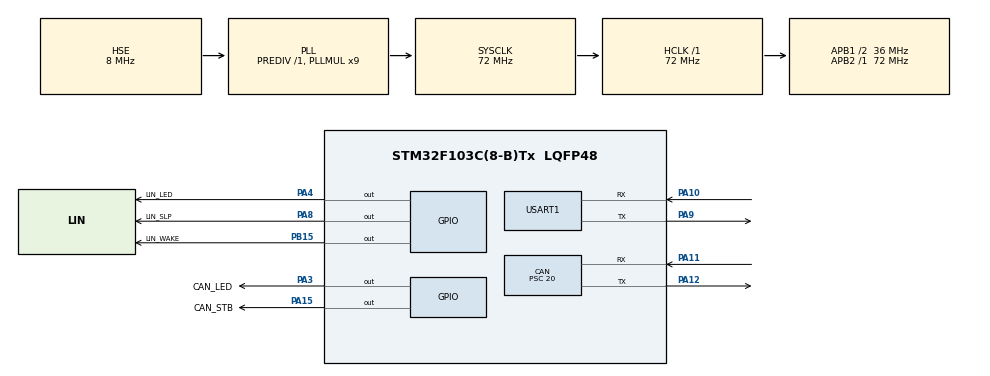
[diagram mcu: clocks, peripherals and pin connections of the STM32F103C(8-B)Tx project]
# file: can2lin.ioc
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CAN.AWUM=ENABLE
CAN.BS1=CAN_BS1_15TQ
CAN.BS2=CAN_BS2_2TQ
CAN.CalculateBaudRate=100000
CAN.CalculateTimeBit=10000
CAN.CalculateTimeQuantum=555.5555555555555
CAN.Prescaler=20
Mcu.Family=STM32F1
Mcu.Name=STM32F103C(8-B)Tx
Mcu.Package=LQFP48
NVIC.PriorityGroup=NVIC_PRIORITYGROUP_4
NVIC.TIM2_IRQn=true\:1\:0\:true\:false\:true\:true\:true\:true
NVIC.USB_LP_CAN1_RX0_IRQn=true\:0\:0\:false\:false\:true\:true\:true\:true
PA10.Mode=LIN
PA10.Signal=USART1_RX
PA11.Mode=CAN_Activate
PA11.Signal=CAN_RX
PA12.Mode=CAN_Activate
PA12.Signal=CAN_TX
PA13.Mode=Serial_Wire
PA13.Signal=SYS_JTMS-SWDIO
PA14.Mode=Serial_Wire
PA14.Signal=SYS_JTCK-SWCLK
PA15.GPIO_Label=CAN_STB
PA15.Signal=GPIO_Output
PA3.GPIO_Label=CAN_LED
PA3.Signal=GPIO_Output
PA4.GPIO_Label=LIN_LED
PA4.Signal=GPIO_Output
PA8.GPIO_Label=LIN_SLP
PA8.Signal=GPIO_Output
PA9.Mode=LIN
PA9.Signal=USART1_TX
PB15.GPIO_Label=LIN_WAKE
PB15.Signal=GPIO_Output
PD0-OSC_IN.Mode=HSE-External-Oscillator
PD0-OSC_IN.Signal=RCC_OSC_IN
PD1-OSC_OUT.Mode=HSE-External-Oscillator
PD1-OSC_OUT.Signal=RCC_OSC_OUT
ProjectManager.HeapSize=0x200
ProjectManager.StackSize=0x400
ProjectManager.TargetToolchain=STM32CubeIDE
RCC.AHBFreq_Value=72000000
RCC.APB1CLKDivider=RCC_HCLK_DIV2
RCC.APB1Freq_Value=36000000
RCC.APB1TimFreq_Value=72000000
RCC.APB2Freq_Value=72000000
RCC.APB2TimFreq_Value=72000000
RCC.HCLKFreq_Value=72000000
RCC.PLLMUL=RCC_PLL_MUL9
RCC.PLLSourceVirtual=RCC_PLLSOURCE_HSE
RCC.SYSCLKFreq_VALUE=72000000
RCC.SYSCLKSource=RCC_SYSCLKSOURCE_PLLCLK
RCC.USBFreq_Value=72000000
TIM2.ClockDivision=TIM_CLOCKDIVISION_DIV1
TIM2.Period=9999
TIM2.Prescaler=799
USART1.VirtualMode=VM_ASYNC
VP_TIM2_VS_ClockSourceINT.Mode=Internal
board=custom

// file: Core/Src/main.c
/* USER CODE BEGIN Header */
/**
  ******************************************************************************
  * @file           : main.c
  * @brief          : Main program body
  ******************************************************************************
  * @attention
  *
  * Copyright (c) 2025 STMicroelectronics.
  * All rights reserved.
  *
  * This software is licensed under terms that can be found in the LICENSE file
  * in the root directory of this software component.
  * If no LICENSE file comes with this software, it is provided AS-IS.
  *
  ******************************************************************************
  */
/* USER CODE END Header */
#include "main.h"
#include "can.h"
#include "tim.h"
#include "usart.h"
#include "gpio.h"

/* USER CODE BEGIN Includes */
#include <stdbool.h>
/* USER CODE END Includes */

/* USER CODE BEGIN PD */
#define CAN_ID_BRIGHTNESS 0x635U
#define CAN_ID_TIME       0x65DU

#define LIN_SEND_INTERVAL_MS  500
/* USER CODE END PD */

/* USER CODE BEGIN PV */
volatile uint8_t linBrightness = 0;
volatile uint8_t linHour = 0;
volatile uint8_t linMinute = 0;
volatile uint8_t linSecond = 0;
volatile uint8_t hasData = 0;
volatile uint8_t sleep_flag = 0;
volatile uint32_t lastCanRx = 0;
static volatile uint32_t lastLinSendTick = 0;

CAN_RxHeaderTypeDef   RxHeader;
uint8_t               RxData[8];

typedef struct {
  CAN_RxHeaderTypeDef header;
  uint8_t  data[8];
} CanFrame;

#define CAN_RX_BUFFER_SIZE 32
static CanFrame rxBuffer[CAN_RX_BUFFER_SIZE];
static volatile uint8_t rxHead = 0, rxTail = 0;

/* last value data */
static volatile uint8_t lastBrightness = 0xFF;
static volatile uint8_t lastHour       = 0xFF;
static volatile uint8_t lastMinute     = 0xFF;
static volatile uint8_t lastSecond     = 0xFF;

/* change flags */
static volatile bool flagBrightness = false;
static volatile bool flagTime       = false;

/* USER CODE END PV */

void SystemClock_Config(void);
void Enable_CAN(void);
void Disable_CAN(void);
void Enable_LIN(void);
void Disable_LIN(void);
static void sendLIN_Data(uint8_t, uint8_t, uint8_t, uint8_t);

/* USER CODE BEGIN 0 */
inline void Enable_CAN(void)
{
	HAL_GPIO_WritePin(CAN_LED_GPIO_Port, CAN_LED_Pin, GPIO_PIN_SET);
	HAL_GPIO_WritePin(CAN_STB_GPIO_Port, CAN_STB_Pin, GPIO_PIN_RESET);
}

inline void Disable_CAN(void)
{
	HAL_GPIO_WritePin(CAN_LED_GPIO_Port, CAN_LED_Pin, GPIO_PIN_RESET);
	HAL_GPIO_WritePin(CAN_STB_GPIO_Port, CAN_STB_Pin, GPIO_PIN_SET);
}

inline void Enable_LIN(void)
{
	HAL_GPIO_WritePin(LIN_LED_GPIO_Port, LIN_LED_Pin, GPIO_PIN_SET);
	HAL_GPIO_WritePin(LIN_SLP_GPIO_Port, LIN_SLP_Pin, GPIO_PIN_SET);
	HAL_GPIO_WritePin(LIN_WAKE_GPIO_Port, LIN_WAKE_Pin, GPIO_PIN_SET);
}

inline void Disable_LIN(void)
{
	HAL_GPIO_WritePin(LIN_WAKE_GPIO_Port, LIN_WAKE_Pin, GPIO_PIN_RESET);
	HAL_GPIO_WritePin(LIN_SLP_GPIO_Port, LIN_SLP_Pin, GPIO_PIN_RESET);
	HAL_GPIO_WritePin(LIN_LED_GPIO_Port, LIN_LED_Pin, GPIO_PIN_RESET);
}

void EXTI15_10_IRQHandler(void)
{
    HAL_GPIO_EXTI_IRQHandler(GPIO_PIN_11);
}

static inline uint8_t decodeHour(uint8_t b5, uint8_t b6) {
    return (b5 >> 4) | ((b6 & 0x01) << 4);
}
static inline uint8_t decodeMinute(uint8_t b6) {
    return (b6 & 0x7F) >> 1;
}
static inline uint8_t decodeSecond(uint8_t b7, uint8_t b6) {
    return (b7 << 1) | ((b6 & 0x80) >> 7);
}

/* Main loop - process buffer and accumulate changes */
void processCanFrames(void)
{
    while (rxTail != rxHead) {
        CanFrame *f = &rxBuffer[rxTail];
        rxTail = (rxTail + 1) % CAN_RX_BUFFER_SIZE;

        switch (f->header.StdId) {
            case CAN_ID_BRIGHTNESS: {
                uint8_t b = f->data[0];
                if (b != lastBrightness) {
                    lastBrightness = b;
                    flagBrightness = true;
                }
                break;
            }
            case CAN_ID_TIME: {
                uint8_t h = decodeHour(f->data[5], f->data[6]);
                uint8_t m = decodeMinute(f->data[6]);
                uint8_t s = decodeSecond(f->data[7], f->data[6]);
                if (h != lastHour || m != lastMinute || s != lastSecond) {
                    lastHour   = h;
                    lastMinute = m;
                    lastSecond = s;
                    flagTime = true;
                }
                break;
            }
            default:
                // Ignore all other IDs
                break;
        }
    }

    uint32_t now = HAL_GetTick();

    /* if there any change then make and send the LIN packet*/
    if ((flagBrightness || flagTime) && (now - lastLinSendTick >= LIN_SEND_INTERVAL_MS)) {

    	Enable_LIN();
        sendLIN_Data(lastBrightness, lastHour, lastMinute, lastSecond);
        lastLinSendTick = now;
        Disable_LIN();

        // turnoff the flags
        flagBrightness = false;
        flagTime       = false;
    }
}

static void enter_stop_and_resume(void)
{
	Disable_CAN();

	__HAL_RCC_AFIO_CLK_ENABLE();
	AFIO->EXTICR[2] = (AFIO->EXTICR[2] & ~(0x0F << 12)) |  (AFIO_EXTICR3_EXTI11_PA << 12);

	GPIO_InitTypeDef GPIO_InitStruct = {0};
	GPIO_InitStruct.Pin  = GPIO_PIN_11;
	GPIO_InitStruct.Mode = GPIO_MODE_IT_FALLING;
	GPIO_InitStruct.Pull = GPIO_NOPULL;
	HAL_GPIO_Init(GPIOA, &GPIO_InitStruct);

	__HAL_GPIO_EXTI_CLEAR_IT(GPIO_PIN_11);

	// turn on EXTI for wake up
	HAL_NVIC_SetPriority(EXTI15_10_IRQn, 2, 0);
	HAL_NVIC_EnableIRQ(EXTI15_10_IRQn);

    /* Stop TIM2 */
    HAL_TIM_Base_Stop_IT(&htim2);

    /* prepare EXTI as wake source */
    __HAL_RCC_PWR_CLK_ENABLE();
    __HAL_PWR_CLEAR_FLAG(PWR_FLAG_WU);

    /* Enter Stop Mode (wake up via EXTI11) */
    //HAL_PWR_EnterSLEEPMode(PWR_MAINREGULATOR_ON, PWR_SLEEPENTRY_WFI);
    HAL_PWR_EnterSTOPMode(PWR_MAINREGULATOR_ON, PWR_STOPENTRY_WFI);
    /* === WakeUP code === */

    /* 1) reconfigure clocking */
    SystemClock_Config();

    /* 2) reconfigure peripherals */
    MX_GPIO_Init();
    MX_CAN_Init();
    HAL_CAN_Start(&hcan);
    HAL_CAN_ActivateNotification(&hcan, CAN_IT_RX_FIFO0_MSG_PENDING);

    MX_TIM2_Init();
    HAL_TIM_Base_Start_IT(&htim2);

    /* 3) reset inactivity timer */
    lastCanRx = HAL_GetTick();
    Enable_CAN();
}

static uint8_t LIN_Checksum(uint8_t *data, uint8_t length)
{
    uint16_t crc = 0;
    for (uint8_t i = 1; i < length; i++) {
        crc += data[i];
        if (crc > 0xFF)
            //crc = (crc & 0xFF) + (crc >> 8);
            crc = ((crc >> 8) & 0xFF) + (crc & 0xFF);
    }
    //return crc & 0xFF;
    return (0xFF - (crc & 0xFF));
}

static void sendLIN_Data(uint8_t brightness, uint8_t hour, uint8_t min, uint8_t sec)
{
    uint8_t frame[16];

    /* Build LIN frame: Sync, PID, Data, Checksum */
    frame[0] = 0x55;        /* Sync byte */
    frame[1] = 0x73;        /* PID for brightness (same as PIC implementation) 0x33 */

    frame[2] = brightness+20;  /* Brightness data */

    // Sec
    frame[5] = (sec & 0x7F) << 1;

    // Min
    frame[5] |= ((min & 0x3F) >> 5);
    frame[4] = ((min & 0x3F) << 3);

    // Hour
    frame[4] |= ((hour & 0x1F) >> 2);
    frame[3] = (hour & 0x1F) << 6;

    if(brightness > 0) {
    	frame[3] |= 0x0B;
    } else {
        frame[3] |= 0x01;
    }

    frame[6] = 0xFF;
    frame[7] = 0xFF;
    frame[8] = 0xFF;
    frame[9] = 0xFF;

    frame[10] = LIN_Checksum(&frame[0], 8);

    //HAL_GPIO_WritePin(CS_GPIO_Port , CS_Pin, GPIO_PIN_SET);

    /* Send LIN break (13-bit low) */
    HAL_LIN_SendBreak(&huart1);
    while (__HAL_UART_GET_FLAG(&huart1, UART_FLAG_TC) == RESET);
    HAL_UART_Transmit(&huart1, &frame[0], 11, HAL_MAX_DELAY);
}

void HAL_TIM_PeriodElapsedCallback(TIM_HandleTypeDef *htim)
{
    if (htim->Instance == TIM2)
    {
        /* no can packets ≥ 300 000 ms -> to Stop */
        if ((HAL_GetTick() - lastCanRx) >= 150000U)
    	//if ((HAL_GetTick() - lastCanRx) >= 30000000U)
        {
        	sleep_flag = 1;
        }
    }
}

void HAL_CAN_RxFifo0MsgPendingCallback(CAN_HandleTypeDef *hcan)
{
    CanFrame *f = &rxBuffer[rxHead];
    if (HAL_CAN_GetRxMessage(hcan, CAN_RX_FIFO0,  &f->header, f->data) != HAL_OK) {
        Error_Handler();
    }
    rxHead = (rxHead + 1) % CAN_RX_BUFFER_SIZE;
    if (rxHead == rxTail) {
        // buffer overflow – delete the oldest one value
        rxTail = (rxTail + 1) % CAN_RX_BUFFER_SIZE;
    }
    lastCanRx = HAL_GetTick();
}

/* USER CODE END 0 */

int main(void)
{

  /* MCU Configuration--------------------------------------------------------*/

  /* Reset of all peripherals, Initializes the Flash interface and the Systick. */
  HAL_Init();

  /* Configure the system clock */
  SystemClock_Config();

  /* Initialize all configured peripherals */
  MX_GPIO_Init();
  MX_CAN_Init();
  MX_USART1_UART_Init();
  MX_TIM2_Init();
  /* USER CODE BEGIN 2 */
  if (HAL_CAN_Start(&hcan) != HAL_OK) {
      Error_Handler();
  }
  if (HAL_CAN_ActivateNotification(&hcan, CAN_IT_RX_FIFO0_MSG_PENDING) != HAL_OK) {
      Error_Handler();
  }
  Enable_CAN();
  HAL_TIM_Base_Start_IT(&htim2);
  /* USER CODE END 2 */

  /* Infinite loop */
  while (1)
  {
	  processCanFrames();

      if (sleep_flag > 0) {
              enter_stop_and_resume();
              sleep_flag = 0;
      }
  }
}

void SystemClock_Config(void)
{
  RCC_OscInitTypeDef RCC_OscInitStruct = {0};
  RCC_ClkInitTypeDef RCC_ClkInitStruct = {0};

  /** Initializes the RCC Oscillators according to the specified parameters
  * in the RCC_OscInitTypeDef structure.
  */
  RCC_OscInitStruct.OscillatorType = RCC_OSCILLATORTYPE_HSE;
  RCC_OscInitStruct.HSEState = RCC_HSE_ON;
  RCC_OscInitStruct.HSEPredivValue = RCC_HSE_PREDIV_DIV1;
  RCC_OscInitStruct.HSIState = RCC_HSI_ON;
  RCC_OscInitStruct.PLL.PLLState = RCC_PLL_ON;
  RCC_OscInitStruct.PLL.PLLSource = RCC_PLLSOURCE_HSE;
  RCC_OscInitStruct.PLL.PLLMUL = RCC_PLL_MUL9;
  if (HAL_RCC_OscConfig(&RCC_OscInitStruct) != HAL_OK)
  {
    Error_Handler();
  }

  /** Initializes the CPU, AHB and APB buses clocks
  */
  RCC_ClkInitStruct.ClockType = RCC_CLOCKTYPE_HCLK|RCC_CLOCKTYPE_SYSCLK
                              |RCC_CLOCKTYPE_PCLK1|RCC_CLOCKTYPE_PCLK2;
  RCC_ClkInitStruct.SYSCLKSource = RCC_SYSCLKSOURCE_PLLCLK;
  RCC_ClkInitStruct.AHBCLKDivider = RCC_SYSCLK_DIV1;
  RCC_ClkInitStruct.APB1CLKDivider = RCC_HCLK_DIV2;
  RCC_ClkInitStruct.APB2CLKDivider = RCC_HCLK_DIV1;

  if (HAL_RCC_ClockConfig(&RCC_ClkInitStruct, FLASH_LATENCY_2) != HAL_OK)
  {
    Error_Handler();
  }
}

void Error_Handler(void)
{
  __disable_irq();
  while (1)
  {
  }
}
